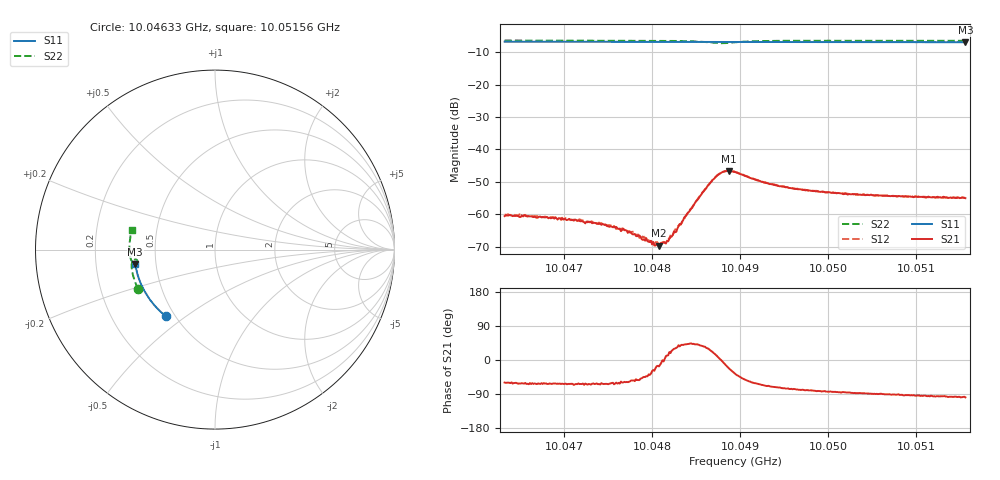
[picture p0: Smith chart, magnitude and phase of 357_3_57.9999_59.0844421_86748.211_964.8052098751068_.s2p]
#  HZ  S  RI  R  50.00
! Rohde & Schwarz Vector Network Analyzer
! Rohde-Schwarz,ZNB20-2Port,1311601062101988,3.16
! Created: UTC 3/21/2024, 1:06:16 AM
! freq[Hz]  re:S11  im:S11  re:S21  im:S21  re:S12  im:S12  re:S22  im:S22
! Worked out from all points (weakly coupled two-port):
!   401 points, 10.04633 GHz to 10.05156 GHz, reference 50 ohm
!   highest |S21| = -46.62 dB at 10.04888 GHz (marker M1); lowest = -69.7 dB at 10.04808 GHz (marker M2)
!   lowest |S11| = -6.9 dB at 10.05156 GHz (marker M3), VSWR 2.65, Z = 19 - j3.82 ohm
!   |S11| at or under -10 dB: nowhere
!   |S22| runs from -7.2 to -6.4 dB; largest |S21 - S12| = 0.00034
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1.0046327e10  -0.2755 -0.3698  0.000476 -0.000804  0.000562 -0.000801  -0.4284 -0.2191
1.0046785e10  -0.2984 -0.3503  0.000413 -0.000789  0.000462 -0.000791  -0.4408 -0.1909
1.0047203e10  -0.3184 -0.3311  0.000351 -0.000701  0.00041 -0.000685  -0.4505 -0.1641
1.0047451e10  -0.3296 -0.3192  0.000309 -0.000619  0.000358 -0.000591  -0.4556 -0.1476
1.0047687e10  -0.3398 -0.3075  0.000303 -0.000477  0.000352 -0.000443  -0.4596 -0.1314
1.0047778e10  -0.3437 -0.3028  0.000286 -0.000396  0.000339 -0.000412  -0.461 -0.125
1.0047909e10  -0.3491 -0.2961  0.000293 -0.000288  0.000337 -0.000296  -0.4627 -0.1154
1.0047974e10  -0.3518 -0.2928  0.000289 -0.000234  0.000312 -0.000205  -0.4635 -0.1105
1.0048027e10  -0.3538 -0.2899  0.000288 -0.000156  0.000307 -0.000135  -0.4639 -0.1067
1.0048079e10  -0.356 -0.2872  0.000311 -9.51e-05  0.000313 -7.09e-05  -0.4643 -0.1026
1.004817e10  -0.3595 -0.2825  0.000378 8.14e-05  0.000374 0.000122  -0.4646 -0.0951
1.004821e10  -0.3612 -0.2805  0.000418 0.000138  0.000429 0.000193  -0.4649 -0.092
1.004834e10  -0.3661 -0.2733  0.000585 0.000494  0.000544 0.000501  -0.4641 -0.0805
1.0048576e10  -0.3747 -0.2604  0.00176 0.0013  0.00167 0.00141  -0.4541 -0.0593
1.0048706e10  -0.3792 -0.2531  0.00339 0.00106  0.00336 0.00127  -0.4392 -0.0555
1.0048798e10  -0.3822 -0.2481  0.00445 -0.000304  0.00445 -2.61e-05  -0.4321 -0.0642
1.0048876e10  -0.3848 -0.244  0.0043 -0.00182  0.00442 -0.00155  -0.4362 -0.0734
1.0048942e10  -0.3871 -0.2404  0.00362 -0.00265  0.00381 -0.00241  -0.444 -0.0761
1.0049308e10  -0.3989 -0.2192  0.00109 -0.0028  0.00127 -0.00275  -0.47 -0.0505
1.0049817e10  -0.4133 -0.189  0.000375 -0.00225  0.000508 -0.00225  -0.4763 -0.0107
1.0050693e10  -0.4325 -0.1349  -1.2e-05 -0.0019  4.27e-05 -0.00192  -0.4741 0.05
1.0051556e10  -0.4447 -0.08  -0.000265 -0.00175  -0.000178 -0.00179  -0.4642 0.1068
